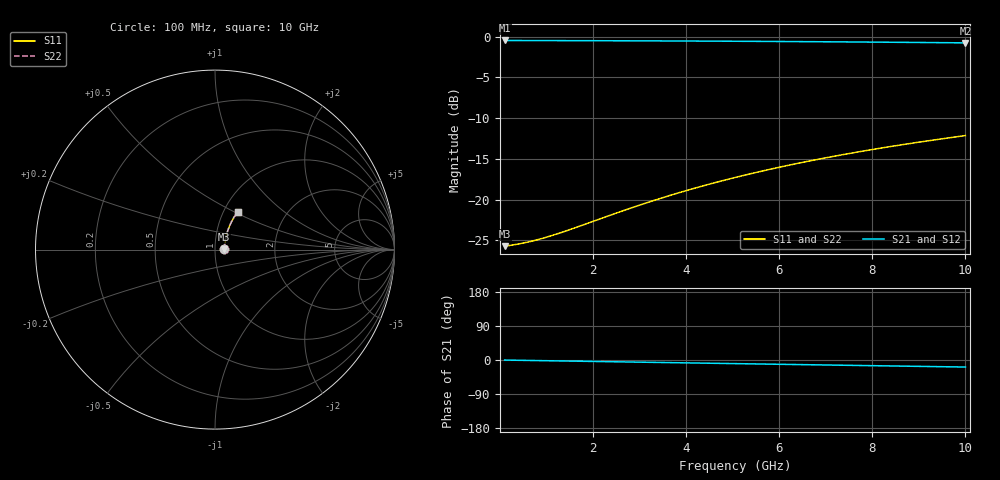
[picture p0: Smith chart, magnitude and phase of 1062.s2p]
# Hz S RI R 50.00
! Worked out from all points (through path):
!   100 points, 100 MHz to 10 GHz, reference 50 ohm
!   highest |S21| = -0.46 dB at 100 MHz (marker M1); lowest = -0.8 dB at 10 GHz (marker M2)
!   group delay of S21, straight-line fit = 5.17 ps
!   lowest |S11| = -25.7 dB at 100 MHz (marker M3), VSWR 1.11, Z = 55.5 + j0.261 ohm
!   |S11| at or under -10 dB: start of sweep to end of sweep
!   |S22| runs from -25.7 to -12.1 dB; largest |S21 - S12| = 1e-12
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1e8  0.0518 0.00234  0.9482 -0.00315  0.9482 -0.00315  0.0518 0.00234
3e8  0.0524 0.00702  0.9476 -0.00943  0.9476 -0.00943  0.0524 0.00702
5e8  0.0529 0.0117  0.9471 -0.0157  0.9471 -0.0157  0.0529 0.0117
8e8  0.0535 0.0187  0.9464 -0.0251  0.9464 -0.0251  0.0535 0.0187
1e9  0.054 0.0233  0.9459 -0.0314  0.9459 -0.0314  0.054 0.0233
1.2e9  0.0545 0.028  0.9454 -0.0376  0.9454 -0.0376  0.0545 0.028
1.5e9  0.0554 0.0349  0.9445 -0.047  0.9445 -0.047  0.0554 0.0349
1.8e9  0.0563 0.0418  0.9435 -0.0563  0.9435 -0.0563  0.0563 0.0418
2.7e9  0.0599 0.0625  0.9398 -0.0842  0.9398 -0.0842  0.0599 0.0625
3.1e9  0.0618 0.0715  0.9378 -0.0964  0.9378 -0.0964  0.0618 0.0715
3.4e9  0.0634 0.0783  0.9362 -0.1056  0.9362 -0.1056  0.0634 0.0783
3.8e9  0.0658 0.0872  0.9337 -0.1178  0.9337 -0.1178  0.0658 0.0872
4.2e9  0.0683 0.0961  0.9311 -0.1299  0.9311 -0.1299  0.0683 0.0961
4.6e9  0.0711 0.1049  0.9282 -0.1419  0.9282 -0.1419  0.0711 0.1049
5.1e9  0.0748 0.1157  0.9243 -0.1567  0.9243 -0.1567  0.0748 0.1157
5.5e9  0.0781 0.1243  0.9209 -0.1685  0.9209 -0.1685  0.0781 0.1243
5.9e9  0.0815 0.1327  0.9173 -0.1802  0.9173 -0.1802  0.0815 0.1327
6.7e9  0.0891 0.1492  0.9094 -0.2032  0.9094 -0.2032  0.0891 0.1492
7.5e9  0.0974 0.1653  0.9007 -0.2256  0.9007 -0.2256  0.0974 0.1653
8.4e9  0.1076 0.1826  0.89 -0.2503  0.89 -0.2503  0.1076 0.1826
9.2e9  0.1174 0.1974  0.8797 -0.2715  0.8797 -0.2715  0.1174 0.1974
1e10  0.1279 0.2116  0.8687 -0.2922  0.8687 -0.2922  0.1279 0.2116
